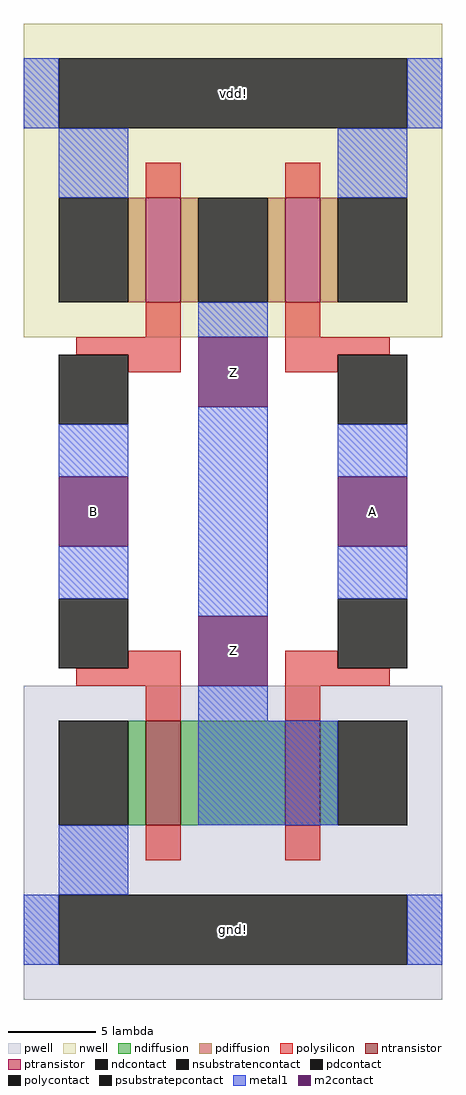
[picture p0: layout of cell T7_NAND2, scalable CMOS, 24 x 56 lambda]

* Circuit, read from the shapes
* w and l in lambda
.subckt T7_NAND2 A B Z gnd! vdd!
M1 n1 B gnd! gnd! nfet w=6 l=2
M2 Z A n1 gnd! nfet w=6 l=2
M3 Z B vdd! vdd! pfet w=6 l=2
M4 vdd! A Z vdd! pfet w=6 l=2
.ends

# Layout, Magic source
magic
tech scmos
<< pwell >>
rect 0 0 24 18
<< nwell >>
rect 0 38 24 56
<< polysilicon >>
rect 7 46 9 48
rect 15 46 17 48
rect 7 38 9 40
rect 3 37 9 38
rect 6 36 9 37
rect 15 38 17 40
rect 15 37 21 38
rect 15 36 18 37
rect 6 19 9 20
rect 3 18 9 19
rect 7 16 9 18
rect 15 19 18 20
rect 15 18 21 19
rect 15 16 17 18
rect 7 8 9 10
rect 15 8 17 10
<< ndiffusion >>
rect 6 10 7 16
rect 9 10 15 16
rect 17 10 18 16
<< pdiffusion >>
rect 6 40 7 46
rect 9 40 10 46
rect 14 40 15 46
rect 17 40 18 46
<< metal1 >>
rect 0 50 2 54
rect 22 50 24 54
rect 2 46 6 50
rect 18 46 22 50
rect 10 38 14 40
rect 2 30 6 33
rect 2 23 6 26
rect 10 22 14 34
rect 18 30 22 33
rect 18 23 22 26
rect 10 16 14 18
rect 10 10 18 16
rect 2 6 6 10
rect 0 2 2 6
rect 22 2 24 6
<< ntransistor >>
rect 7 10 9 16
rect 15 10 17 16
<< ptransistor >>
rect 7 40 9 46
rect 15 40 17 46
<< polycontact >>
rect 2 33 6 37
rect 18 33 22 37
rect 2 19 6 23
rect 18 19 22 23
<< ndcontact >>
rect 2 10 6 16
rect 18 10 22 16
<< pdcontact >>
rect 2 40 6 46
rect 10 40 14 46
rect 18 40 22 46
<< m2contact >>
rect 2 26 6 30
rect 10 34 14 38
rect 10 18 14 22
rect 18 26 22 30
<< psubstratepcontact >>
rect 2 2 22 6
<< nsubstratencontact >>
rect 2 50 22 54
<< labels >>
rlabel psubstratepcontact 2 2 22 6 1 gnd!
rlabel m2contact 2 26 6 30 3 B
rlabel m2contact 18 26 22 30 1 A
rlabel m2contact 10 34 14 38 1 Z
rlabel m2contact 10 18 14 22 1 Z
rlabel nsubstratencontact 2 50 22 54 1 vdd!
<< end >>
